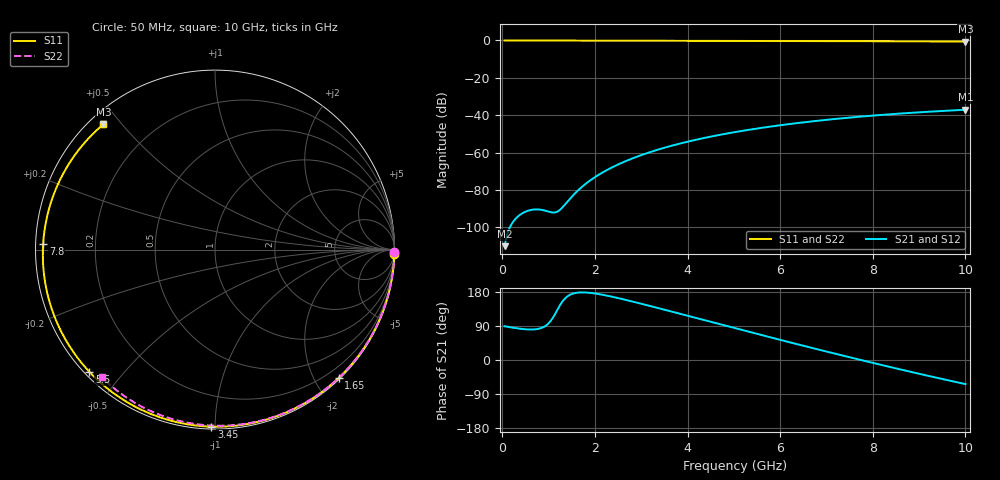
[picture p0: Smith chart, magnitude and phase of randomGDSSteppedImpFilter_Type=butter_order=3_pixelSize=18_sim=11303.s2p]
! freq	dB(S11)	phase(S11)	dB(S12)	phase(S12)
!  dB(S21)	phase(S21)	dB(S22)	phase(S22)
!S-par simulation data
#  GHz  S  DB  R 50
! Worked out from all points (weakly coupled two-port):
!   200 points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, 50 MHz to 10 GHz, reference 50 ohm
!   highest |S21| = -37.09 dB at 10 GHz (marker M1); lowest = -110.1 dB at 50 MHz (marker M2)
!   lowest |S11| = -0.6 dB at 10 GHz (marker M3), VSWR 29.77, Z = 2.02 + j22.4 ohm
!   |S11| at or under -10 dB: nowhere
!   |S22| runs from -0.4 to 0.0 dB; largest |S21 - S12| = 0
!   S11 on the Smith chart (normalised r, x): 50 MHz: 0, -79; 1.65 GHz: 0.02, -2.36; 3.45 GHz: 0.01, -0.98; 5.5 GHz: 0.01, -0.41; 7.8 GHz: 0.02, +0.02; 10 GHz: 0.04, +0.45
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0.05  -0.00 -1.4  -110.11 89.1  -110.11 89.1  -0.00 -0.8
0.4  -0.02 -11.4  -93.01 82.3  -93.01 82.3  -0.01 -6.1
0.8  -0.03 -22.7  -90.51 82.9  -90.51 82.9  -0.02 -12.1
1.2  -0.04 -33.8  -91.50 134.9  -91.50 134.9  -0.02 -18.1
1.65  -0.06 -46.0  -79.91 178.0  -79.91 178.0  -0.03 -24.7
1.75  -0.06 -48.7  -77.74 178.4  -77.74 178.4  -0.03 -26.2
2.05  -0.07 -56.6  -72.38 174.6  -72.38 174.6  -0.04 -30.6
2.45  -0.08 -66.8  -66.98 164.8  -66.98 164.8  -0.05 -36.4
2.9  -0.10 -78.0  -62.29 151.6  -62.29 151.6  -0.06 -42.9
3.4  -0.11 -90.0  -58.16 135.9  -58.16 135.9  -0.07 -49.9
3.45  -0.12 -91.2  -57.79 134.3  -57.79 134.3  -0.07 -50.6
3.8  -0.13 -99.2  -55.42 123.1  -55.42 123.1  -0.08 -55.5
4.2  -0.14 -108.2  -53.05 110.2  -53.05 110.2  -0.09 -60.9
5.05  -0.18 -126.5  -48.94 83.0  -48.94 83.0  -0.11 -72.2
5.5  -0.21 -135.8  -47.15 68.7  -47.15 68.7  -0.13 -78.1
6.1  -0.24 -148.0  -45.07 49.9  -45.07 49.9  -0.15 -85.7
6.7  -0.28 -160.0  -43.29 31.4  -43.29 31.4  -0.18 -93.1
7.25  -0.33 -170.9  -41.87 14.7  -41.87 14.7  -0.21 -99.8
7.8  -0.37 178.1  -40.63 -1.7  -40.63 -1.7  -0.25 -106.3
8.35  -0.42 167.0  -39.55 -17.8  -39.55 -17.8  -0.29 -112.7
9.15  -0.50 150.3  -38.23 -40.5  -38.23 -40.5  -0.36 -121.9
10  -0.58 131.7  -37.09 -63.5  -37.09 -63.5  -0.45 -131.5
